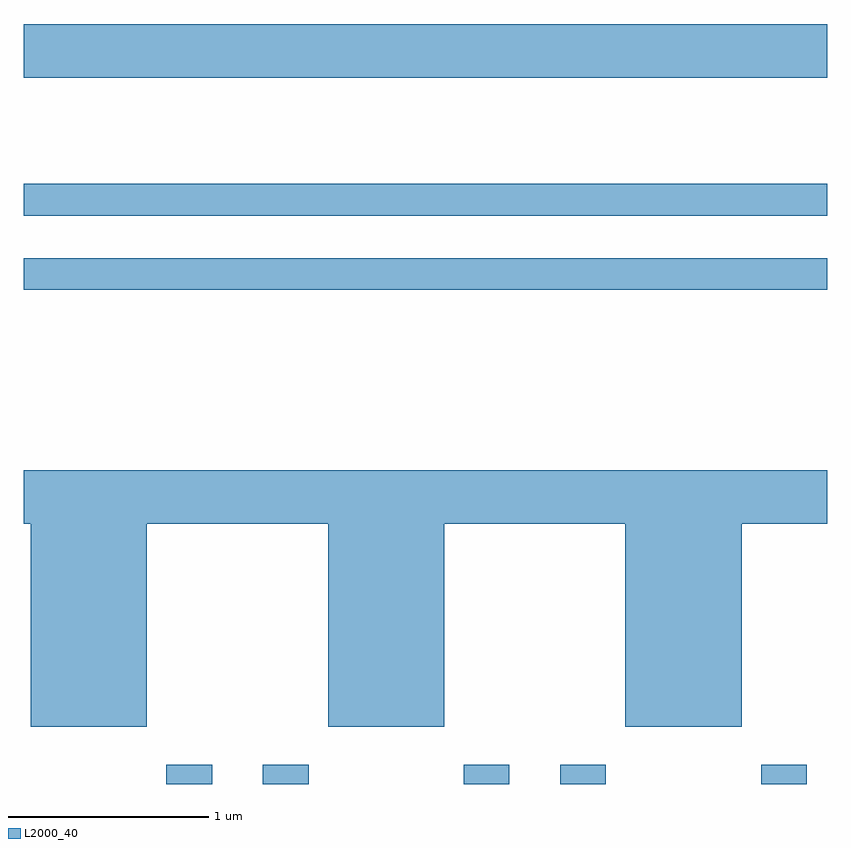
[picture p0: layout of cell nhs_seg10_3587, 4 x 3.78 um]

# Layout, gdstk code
import gdstk
lib = gdstk.Library(unit=1e-6, precision=1e-09)
def R(c, l, rs):  # rectangles x0, y0, x1, y1
    for r in rs: c.add(gdstk.rectangle(r[:2], r[2:], *l))
def P(c, l, *ps):  # polygons
    for p in ps: c.add(gdstk.Polygon(p, *l))
L2000_40 = (2000, 40)

nhs_seg10_3587 = lib.new_cell('nhs_seg10_3587')
R(nhs_seg10_3587, L2000_40, [(290.321,2212.522,290.549,2212.619), (290.801,2212.522,291.029,2212.619), (291.801,2212.522,292.029,2212.619), (292.281,2212.522,292.509,2212.619), (293.281,2212.522,293.509,2212.619), (289.611,2214.981,293.611,2215.139), (289.611,2215.351,293.611,2215.509), (289.611,2216.036,293.611,2216.304)])
P(nhs_seg10_3587, L2000_40, [(290.224,2213.816),(291.126,2213.816),(291.126,2212.806),(291.704,2212.806),(291.704,2213.816),(292.606,2213.816),(292.606,2212.806),(293.184,2212.806),(293.184,2213.816),(293.611,2213.816),(293.611,2214.084),(289.611,2214.084),(289.611,2213.816),(289.646,2213.816),(289.646,2212.806),(290.224,2212.806)])

lib.write_gds('nhs_seg10_3587.gds')
